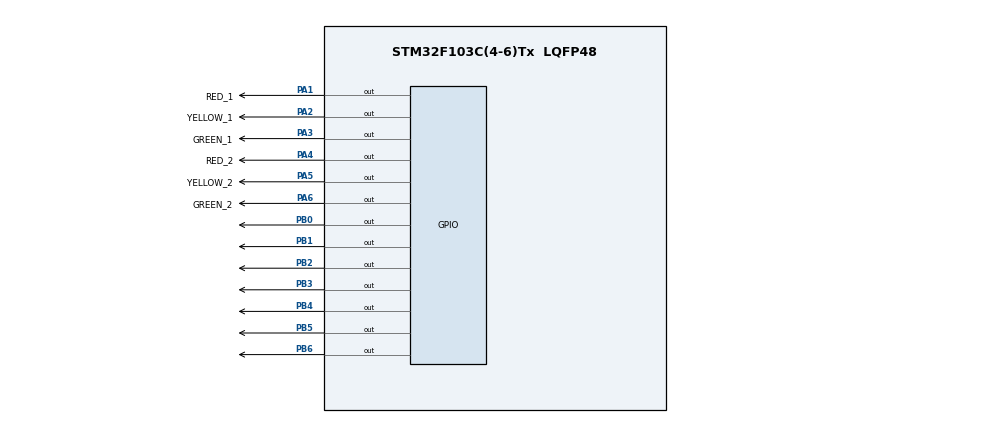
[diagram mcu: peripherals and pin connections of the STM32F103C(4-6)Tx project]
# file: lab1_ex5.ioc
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Mcu.Family=STM32F1
Mcu.Name=STM32F103C(4-6)Tx
Mcu.Package=LQFP48
NVIC.PriorityGroup=NVIC_PRIORITYGROUP_4
PA1.GPIO_Label=RED_1
PA1.Signal=GPIO_Output
PA2.GPIO_Label=YELLOW_1
PA2.Signal=GPIO_Output
PA3.GPIO_Label=GREEN_1
PA3.Signal=GPIO_Output
PA4.GPIO_Label=RED_2
PA4.Signal=GPIO_Output
PA5.GPIO_Label=YELLOW_2
PA5.Signal=GPIO_Output
PA6.GPIO_Label=GREEN_2
PA6.Signal=GPIO_Output
PB0.Signal=GPIO_Output
PB1.Signal=GPIO_Output
PB2.Signal=GPIO_Output
PB3.Signal=GPIO_Output
PB4.Signal=GPIO_Output
PB5.Signal=GPIO_Output
PB6.Signal=GPIO_Output
ProjectManager.HeapSize=0x200
ProjectManager.StackSize=0x400
ProjectManager.TargetToolchain=STM32CubeIDE
RCC.APB1Freq_Value=8000000
RCC.APB2Freq_Value=8000000
VP_SYS_VS_ND.Mode=No_Debug
board=custom

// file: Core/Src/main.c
/* USER CODE BEGIN Header */
/**
  ******************************************************************************
  * @file           : main.c
  * @brief          : Main program body
  ******************************************************************************
  * @attention
  *
  * <h2><center>&copy; Copyright (c) 2026 STMicroelectronics.
  * All rights reserved.</center></h2>
  *
  * This software component is licensed by ST under BSD 3-Clause license,
  * the "License"; You may not use this file except in compliance with the
  * License. You may obtain a copy of the License at:
  *                        opensource.org/licenses/BSD-3-Clause
  *
  ******************************************************************************
  */
/* USER CODE END Header */
#include "main.h"

void SystemClock_Config(void);
static void MX_GPIO_Init(void);
/* USER CODE BEGIN PFP */
void display7SEG(int num) {
    uint8_t seg7[10] = {0xC0, 0xF9, 0xA4, 0xB0, 0x99, 0x92, 0x82, 0xF8, 0x80, 0x90};

    if (num < 0 || num > 9) return;

    HAL_GPIO_WritePin(GPIOB, GPIO_PIN_0, (seg7[num] >> 0) & 0x01); // a
    HAL_GPIO_WritePin(GPIOB, GPIO_PIN_1, (seg7[num] >> 1) & 0x01); // b
    HAL_GPIO_WritePin(GPIOB, GPIO_PIN_2, (seg7[num] >> 2) & 0x01); // c
    HAL_GPIO_WritePin(GPIOB, GPIO_PIN_3, (seg7[num] >> 3) & 0x01); // d
    HAL_GPIO_WritePin(GPIOB, GPIO_PIN_4, (seg7[num] >> 4) & 0x01); // e
    HAL_GPIO_WritePin(GPIOB, GPIO_PIN_5, (seg7[num] >> 5) & 0x01); // f
    HAL_GPIO_WritePin(GPIOB, GPIO_PIN_6, (seg7[num] >> 6) & 0x01); // g
}
/* USER CODE END PFP */

int main(void)
{

  /* MCU Configuration--------------------------------------------------------*/

  /* Reset of all peripherals, Initializes the Flash interface and the Systick. */
  HAL_Init();

  /* Configure the system clock */
  SystemClock_Config();

  /* Initialize all configured peripherals */
  MX_GPIO_Init();
  /* USER CODE BEGIN 2 */
  int counter=0;
  /* USER CODE END 2 */

  /* Infinite loop */
  /* USER CODE BEGIN WHILE */
  while (1)
  {
	  int ns_countdown = 0;

	  if (counter < 3) {
		  // North-South: GREEN (3s) | East-West: RED
		  ns_countdown = 3 - counter;

		  HAL_GPIO_WritePin(GPIOA, GPIO_PIN_1, GPIO_PIN_SET);   // N-S Red OFF
		  HAL_GPIO_WritePin(GPIOA, GPIO_PIN_2, GPIO_PIN_SET);   // N-S Yellow OFF
		  HAL_GPIO_WritePin(GPIOA, GPIO_PIN_3, GPIO_PIN_RESET); // N-S Green ON

		  HAL_GPIO_WritePin(GPIOA, GPIO_PIN_4, GPIO_PIN_RESET); // E-W Red ON
		  HAL_GPIO_WritePin(GPIOA, GPIO_PIN_5, GPIO_PIN_SET);   // E-W Yellow OFF
		  HAL_GPIO_WritePin(GPIOA, GPIO_PIN_6, GPIO_PIN_SET);   // E-W Green OFF
	  }
	  else if (counter < 5) {
		  // North-South: YELLOW (2s) | East-West: RED
		  ns_countdown = 5 - counter;

		  HAL_GPIO_WritePin(GPIOA, GPIO_PIN_1, GPIO_PIN_SET);   // N-S Red OFF
		  HAL_GPIO_WritePin(GPIOA, GPIO_PIN_2, GPIO_PIN_RESET); // N-S Yellow ON
		  HAL_GPIO_WritePin(GPIOA, GPIO_PIN_3, GPIO_PIN_SET);   // N-S Green OFF

		  HAL_GPIO_WritePin(GPIOA, GPIO_PIN_4, GPIO_PIN_RESET); // E-W Red ON
		  HAL_GPIO_WritePin(GPIOA, GPIO_PIN_5, GPIO_PIN_SET);
		  HAL_GPIO_WritePin(GPIOA, GPIO_PIN_6, GPIO_PIN_SET);
	  }
	  else if (counter < 8) {
		  // North-South: RED (5s total) | East-West: GREEN (3s)
		  ns_countdown = 10 - counter;

		  HAL_GPIO_WritePin(GPIOA, GPIO_PIN_1, GPIO_PIN_RESET); // N-S Red ON
		  HAL_GPIO_WritePin(GPIOA, GPIO_PIN_2, GPIO_PIN_SET);
		  HAL_GPIO_WritePin(GPIOA, GPIO_PIN_3, GPIO_PIN_SET);

		  HAL_GPIO_WritePin(GPIOA, GPIO_PIN_4, GPIO_PIN_SET);   // E-W Red OFF
		  HAL_GPIO_WritePin(GPIOA, GPIO_PIN_5, GPIO_PIN_SET);   // E-W Yellow OFF
		  HAL_GPIO_WritePin(GPIOA, GPIO_PIN_6, GPIO_PIN_RESET); // E-W Green ON
	  }
	  else if (counter < 10) {
		  // North-South: RED (Held) | East-West: YELLOW (2s)
		  ns_countdown = 10 - counter;

		  HAL_GPIO_WritePin(GPIOA, GPIO_PIN_1, GPIO_PIN_RESET); // N-S Red ON
		  HAL_GPIO_WritePin(GPIOA, GPIO_PIN_2, GPIO_PIN_SET);
		  HAL_GPIO_WritePin(GPIOA, GPIO_PIN_3, GPIO_PIN_SET);

		  HAL_GPIO_WritePin(GPIOA, GPIO_PIN_4, GPIO_PIN_SET);   // E-W Red OFF
		  HAL_GPIO_WritePin(GPIOA, GPIO_PIN_5, GPIO_PIN_RESET); // E-W Yellow ON
		  HAL_GPIO_WritePin(GPIOA, GPIO_PIN_6, GPIO_PIN_SET);   // E-W Green OFF
	  }

	  display7SEG(ns_countdown);

	  counter++;
	  if (counter >= 10) {
		  counter = 0;
	  }

	  HAL_Delay(1000);
    /* USER CODE END WHILE */

  }
}

void SystemClock_Config(void)
{
  RCC_OscInitTypeDef RCC_OscInitStruct = {0};
  RCC_ClkInitTypeDef RCC_ClkInitStruct = {0};

  /** Initializes the RCC Oscillators according to the specified parameters
  * in the RCC_OscInitTypeDef structure.
  */
  RCC_OscInitStruct.OscillatorType = RCC_OSCILLATORTYPE_HSI;
  RCC_OscInitStruct.HSIState = RCC_HSI_ON;
  RCC_OscInitStruct.HSICalibrationValue = RCC_HSICALIBRATION_DEFAULT;
  RCC_OscInitStruct.PLL.PLLState = RCC_PLL_NONE;
  if (HAL_RCC_OscConfig(&RCC_OscInitStruct) != HAL_OK)
  {
    Error_Handler();
  }
  /** Initializes the CPU, AHB and APB buses clocks
  */
  RCC_ClkInitStruct.ClockType = RCC_CLOCKTYPE_HCLK|RCC_CLOCKTYPE_SYSCLK
                              |RCC_CLOCKTYPE_PCLK1|RCC_CLOCKTYPE_PCLK2;
  RCC_ClkInitStruct.SYSCLKSource = RCC_SYSCLKSOURCE_HSI;
  RCC_ClkInitStruct.AHBCLKDivider = RCC_SYSCLK_DIV1;
  RCC_ClkInitStruct.APB1CLKDivider = RCC_HCLK_DIV1;
  RCC_ClkInitStruct.APB2CLKDivider = RCC_HCLK_DIV1;

  if (HAL_RCC_ClockConfig(&RCC_ClkInitStruct, FLASH_LATENCY_0) != HAL_OK)
  {
    Error_Handler();
  }
}

static void MX_GPIO_Init(void)
{
  GPIO_InitTypeDef GPIO_InitStruct = {0};

  /* GPIO Ports Clock Enable */
  __HAL_RCC_GPIOA_CLK_ENABLE();
  __HAL_RCC_GPIOB_CLK_ENABLE();

  /*Configure GPIO pin Output Level */
  HAL_GPIO_WritePin(GPIOA, RED_1_Pin|YELLOW_1_Pin|GREEN_1_Pin|RED_2_Pin
                          |YELLOW_2_Pin|GREEN_2_Pin, GPIO_PIN_RESET);

  /*Configure GPIO pin Output Level */
  HAL_GPIO_WritePin(GPIOB, GPIO_PIN_0|GPIO_PIN_1|GPIO_PIN_2|GPIO_PIN_3
                          |GPIO_PIN_4|GPIO_PIN_5|GPIO_PIN_6, GPIO_PIN_RESET);

  /*Configure GPIO pins : RED_1_Pin YELLOW_1_Pin GREEN_1_Pin RED_2_Pin
                           YELLOW_2_Pin GREEN_2_Pin */
  GPIO_InitStruct.Pin = RED_1_Pin|YELLOW_1_Pin|GREEN_1_Pin|RED_2_Pin
                          |YELLOW_2_Pin|GREEN_2_Pin;
  GPIO_InitStruct.Mode = GPIO_MODE_OUTPUT_PP;
  GPIO_InitStruct.Pull = GPIO_NOPULL;
  GPIO_InitStruct.Speed = GPIO_SPEED_FREQ_LOW;
  HAL_GPIO_Init(GPIOA, &GPIO_InitStruct);

  /*Configure GPIO pins : PB0 PB1 PB2 PB3
                           PB4 PB5 PB6 */
  GPIO_InitStruct.Pin = GPIO_PIN_0|GPIO_PIN_1|GPIO_PIN_2|GPIO_PIN_3
                          |GPIO_PIN_4|GPIO_PIN_5|GPIO_PIN_6;
  GPIO_InitStruct.Mode = GPIO_MODE_OUTPUT_PP;
  GPIO_InitStruct.Pull = GPIO_NOPULL;
  GPIO_InitStruct.Speed = GPIO_SPEED_FREQ_LOW;
  HAL_GPIO_Init(GPIOB, &GPIO_InitStruct);

}

void Error_Handler(void)
{
  __disable_irq();
  while (1)
  {
  }
}

/************************ (C) COPYRIGHT STMicroelectronics *****END OF FILE****/
